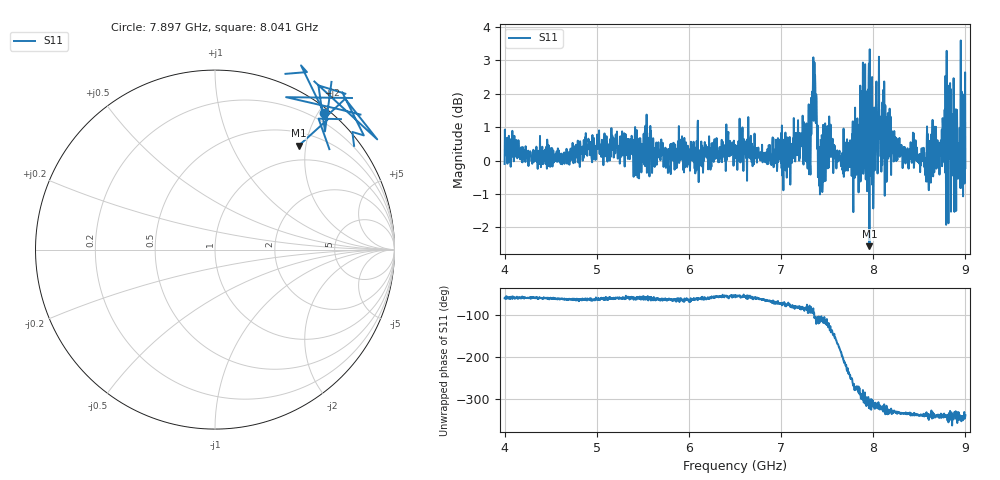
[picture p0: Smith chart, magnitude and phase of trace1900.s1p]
! Created with skrf 1.8.0 (http://scikit-rf.org).
# Hz S RI R 50.0
!freq ReS11 ImS11
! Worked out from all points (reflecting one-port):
!   1601 points, 4 GHz to 9 GHz, reference 50 ohm
!   lowest |S11| = -2.6 dB at 7.959 GHz (marker M1), VSWR 6.83, Z = 35.9 + j93.5 ohm
!   phase of S11 starts at -60 deg and turns -279 deg over the sweep
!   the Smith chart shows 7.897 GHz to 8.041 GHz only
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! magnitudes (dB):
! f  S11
! 4 GHz  -0.1
! 4.625 GHz  -0.1
! 5.25 GHz  -0.1
! 5.875 GHz  0.4
! 6.5 GHz  0.3
! 7.125 GHz  0.5
! 7.297 GHz  1.0
! 7.359 GHz  2.3
! 7.4 GHz  -0.5
! 7.425 GHz  0.4
! 7.525 GHz  1.0
! 7.65 GHz  -0.2
! 7.75 GHz  -0.2
! 7.831 GHz  0.1
! 7.891 GHz  -0.4
! 7.916 GHz  1.1
! 7.928 GHz  2.1
! 7.959 GHz  -2.6
! 7.972 GHz  -0.5
! 7.981 GHz  0.7
! 8.053 GHz  1.3
! 8.072 GHz  1.2
! 8.375 GHz  0.1
! 8.6 GHz  -0.6
! 8.822 GHz  2.0
! 8.919 GHz  -0.5
! 8.972 GHz  0.3
! 9 GHz  -0.2
